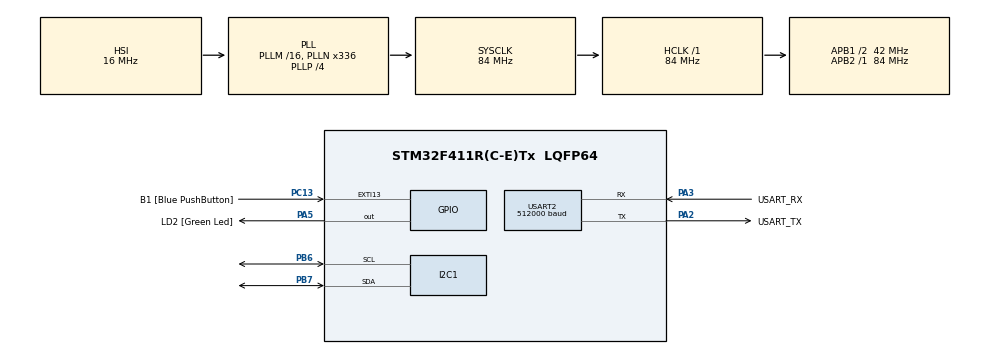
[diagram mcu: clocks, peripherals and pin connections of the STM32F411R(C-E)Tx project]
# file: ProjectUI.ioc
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Mcu.Family=STM32F4
PC15-OSC32_OUT.Mode=LSE-External-Oscillator
RCC.CortexFreq_Value=84000000
NVIC.I2C1_EV_IRQn=true\:0\:0\:false\:false\:true\:true\:true
PC13-ANTI_TAMP.GPIO_Label=B1 [Blue PushButton]
PA14.GPIO_Label=TCK
USART2.Parity=PARITY_EVEN
PH1\ -\ OSC_OUT.Mode=HSE-External-Clock-Source
RCC.APB1CLKDivider=RCC_HCLK_DIV2
PC14-OSC32_IN.Signal=RCC_OSC32_IN
NVIC.USART2_IRQn=true\:0\:0\:false\:false\:true\:true\:true
USART2.BaudRate=512000
RCC.SYSCLKSource=RCC_SYSCLKSOURCE_PLLCLK
ProjectManager.StackSize=0x400
PA13.Signal=SYS_JTMS-SWDIO
PA3.Mode=Asynchronous
PH0\ -\ OSC_IN.Mode=HSE-External-Clock-Source
PH0\ -\ OSC_IN.Signal=RCC_OSC_IN
ProjectManager.TargetToolchain=STM32CubeIDE
I2C1.I2C_Mode=I2C_Fast
RCC.HCLKFreq_Value=84000000
RCC.APB2TimFreq_Value=84000000
PB6.Signal=I2C1_SCL
PB6.Mode=I2C
PC15-OSC32_OUT.Signal=RCC_OSC32_OUT
RCC.AHBFreq_Value=84000000
PA5.Signal=GPIO_Output
RCC.HSE_VALUE=8000000
PH1\ -\ OSC_OUT.Signal=RCC_OSC_OUT
board=NUCLEO-F411RE
PC13-ANTI_TAMP.Signal=GPXTI13
RCC.VCOOutputFreq_Value=336000000
RCC.APB2Freq_Value=84000000
PC14-OSC32_IN.Mode=LSE-External-Oscillator
PA14.Mode=Serial_Wire
PB7.Signal=I2C1_SDA
PA13.Mode=Serial_Wire
NVIC.I2C1_ER_IRQn=true\:0\:0\:false\:false\:true\:true\:true
Mcu.Name=STM32F411R(C-E)Tx
PA2.Signal=USART2_TX
PA13.GPIO_Label=TMS
RCC.FLatency-AdvancedSettings=FLASH_LATENCY_2
RCC.48MHZClocksFreq_Value=84000000
PB3.Signal=SYS_JTDO-SWO
RCC.SYSCLKFreq_VALUE=84000000
Mcu.Package=LQFP64
PA5.GPIO_Label=LD2 [Green Led]
USART2.VirtualMode=VM_ASYNC
PC13-ANTI_TAMP.GPIO_ModeDefaultEXTI=GPIO_MODE_IT_FALLING
PA2.GPIO_Label=USART_TX
PB7.Mode=I2C
PA14.Signal=SYS_JTCK-SWCLK
ProjectManager.HeapSize=0x200
USART2.WordLength=WORDLENGTH_9B
RCC.HSI_VALUE=16000000
RCC.PLLP=RCC_PLLP_DIV4
NVIC.PriorityGroup=NVIC_PRIORITYGROUP_0
RCC.PLLN=336
RCC.APB1TimFreq_Value=84000000
PA2.Mode=Asynchronous
RCC.APB1Freq_Value=42000000
PA3.GPIO_Label=USART_RX
PA3.Signal=USART2_RX
PB3.GPIO_Label=SWO

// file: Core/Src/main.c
/* USER CODE BEGIN Header */
/**
  ******************************************************************************
  * @file           : main.c
  * @brief          : Main program body
  ******************************************************************************
  * @attention
  *
  * <h2><center>&copy; Copyright (c) 2021 STMicroelectronics.
  * All rights reserved.</center></h2>
  *
  * This software component is licensed by ST under BSD 3-Clause license,
  * the "License"; You may not use this file except in compliance with the
  * License. You may obtain a copy of the License at:
  *                        opensource.org/licenses/BSD-3-Clause
  *
  ******************************************************************************
  */
/* USER CODE END Header */
#include "main.h"

I2C_HandleTypeDef hi2c1;

UART_HandleTypeDef huart2;

/* USER CODE BEGIN PV */
int16_t inputchar = -1;
char RxDataBuffer[32] = { 0 };
uint8_t nstation[10] = {99,99,99,99,99,99,99,99,99,99};
uint8_t test = 0;
uint8_t error = 0;
uint8_t connect = 1;
float value = 0;
//uint8_t EEdata = 0;
/* USER CODE END PV */

void SystemClock_Config(void);
static void MX_GPIO_Init(void);
static void MX_USART2_UART_Init(void);
static void MX_I2C1_Init(void);
/* USER CODE BEGIN PFP */
int16_t UARTRecieveIT();
void Communication(int16_t dataIn);
void ACK1();
void ACK2();
void request(uint8_t mode);
void end_effector();
/* USER CODE END PFP */

int main(void)
{

  /* MCU Configuration--------------------------------------------------------*/

  /* Reset of all peripherals, Initializes the Flash interface and the Systick. */
  HAL_Init();

  /* Configure the system clock */
  SystemClock_Config();

  /* Initialize all configured peripherals */
  MX_GPIO_Init();
  MX_USART2_UART_Init();
  MX_I2C1_Init();

  /* Infinite loop */
  /* USER CODE BEGIN WHILE */
  while (1)
  {
	  HAL_UART_Receive_IT(&huart2,  (uint8_t*)RxDataBuffer, 32);
	   inputchar = UARTRecieveIT();
		//if input char == -1 ==> No New data
		if (inputchar != -1)
		{
			Communication(inputchar);
		}

    /* USER CODE END WHILE */

  }
}

void SystemClock_Config(void)
{
  RCC_OscInitTypeDef RCC_OscInitStruct = {0};
  RCC_ClkInitTypeDef RCC_ClkInitStruct = {0};

  /** Configure the main internal regulator output voltage
  */
  __HAL_RCC_PWR_CLK_ENABLE();
  __HAL_PWR_VOLTAGESCALING_CONFIG(PWR_REGULATOR_VOLTAGE_SCALE1);
  /** Initializes the RCC Oscillators according to the specified parameters
  * in the RCC_OscInitTypeDef structure.
  */
  RCC_OscInitStruct.OscillatorType = RCC_OSCILLATORTYPE_HSI;
  RCC_OscInitStruct.HSIState = RCC_HSI_ON;
  RCC_OscInitStruct.HSICalibrationValue = RCC_HSICALIBRATION_DEFAULT;
  RCC_OscInitStruct.PLL.PLLState = RCC_PLL_ON;
  RCC_OscInitStruct.PLL.PLLSource = RCC_PLLSOURCE_HSI;
  RCC_OscInitStruct.PLL.PLLM = 16;
  RCC_OscInitStruct.PLL.PLLN = 336;
  RCC_OscInitStruct.PLL.PLLP = RCC_PLLP_DIV4;
  RCC_OscInitStruct.PLL.PLLQ = 4;
  if (HAL_RCC_OscConfig(&RCC_OscInitStruct) != HAL_OK)
  {
    Error_Handler();
  }
  /** Initializes the CPU, AHB and APB buses clocks
  */
  RCC_ClkInitStruct.ClockType = RCC_CLOCKTYPE_HCLK|RCC_CLOCKTYPE_SYSCLK
                              |RCC_CLOCKTYPE_PCLK1|RCC_CLOCKTYPE_PCLK2;
  RCC_ClkInitStruct.SYSCLKSource = RCC_SYSCLKSOURCE_PLLCLK;
  RCC_ClkInitStruct.AHBCLKDivider = RCC_SYSCLK_DIV1;
  RCC_ClkInitStruct.APB1CLKDivider = RCC_HCLK_DIV2;
  RCC_ClkInitStruct.APB2CLKDivider = RCC_HCLK_DIV1;

  if (HAL_RCC_ClockConfig(&RCC_ClkInitStruct, FLASH_LATENCY_2) != HAL_OK)
  {
    Error_Handler();
  }
}

static void MX_I2C1_Init(void)
{

  hi2c1.Instance = I2C1;
  hi2c1.Init.ClockSpeed = 400000;
  hi2c1.Init.DutyCycle = I2C_DUTYCYCLE_2;
  hi2c1.Init.OwnAddress1 = 0;
  hi2c1.Init.AddressingMode = I2C_ADDRESSINGMODE_7BIT;
  hi2c1.Init.DualAddressMode = I2C_DUALADDRESS_DISABLE;
  hi2c1.Init.OwnAddress2 = 0;
  hi2c1.Init.GeneralCallMode = I2C_GENERALCALL_DISABLE;
  hi2c1.Init.NoStretchMode = I2C_NOSTRETCH_DISABLE;
  if (HAL_I2C_Init(&hi2c1) != HAL_OK)
  {
    Error_Handler();
  }

}

static void MX_USART2_UART_Init(void)
{

  huart2.Instance = USART2;
  huart2.Init.BaudRate = 512000;
  huart2.Init.WordLength = UART_WORDLENGTH_9B;
  huart2.Init.StopBits = UART_STOPBITS_1;
  huart2.Init.Parity = UART_PARITY_EVEN;
  huart2.Init.Mode = UART_MODE_TX_RX;
  huart2.Init.HwFlowCtl = UART_HWCONTROL_NONE;
  huart2.Init.OverSampling = UART_OVERSAMPLING_16;
  if (HAL_UART_Init(&huart2) != HAL_OK)
  {
    Error_Handler();
  }

}

static void MX_GPIO_Init(void)
{
  GPIO_InitTypeDef GPIO_InitStruct = {0};

  /* GPIO Ports Clock Enable */
  __HAL_RCC_GPIOC_CLK_ENABLE();
  __HAL_RCC_GPIOH_CLK_ENABLE();
  __HAL_RCC_GPIOA_CLK_ENABLE();
  __HAL_RCC_GPIOB_CLK_ENABLE();

  /*Configure GPIO pin Output Level */
  HAL_GPIO_WritePin(LD2_GPIO_Port, LD2_Pin, GPIO_PIN_RESET);

  /*Configure GPIO pin : B1_Pin */
  GPIO_InitStruct.Pin = B1_Pin;
  GPIO_InitStruct.Mode = GPIO_MODE_IT_FALLING;
  GPIO_InitStruct.Pull = GPIO_NOPULL;
  HAL_GPIO_Init(B1_GPIO_Port, &GPIO_InitStruct);

  /*Configure GPIO pin : LD2_Pin */
  GPIO_InitStruct.Pin = LD2_Pin;
  GPIO_InitStruct.Mode = GPIO_MODE_OUTPUT_PP;
  GPIO_InitStruct.Pull = GPIO_NOPULL;
  GPIO_InitStruct.Speed = GPIO_SPEED_FREQ_LOW;
  HAL_GPIO_Init(LD2_GPIO_Port, &GPIO_InitStruct);

}

/* USER CODE BEGIN 4 */
int16_t UARTRecieveIT()
{
	static uint32_t dataPos =0;
	int16_t data=-1;
	if(huart2.RxXferSize - huart2.RxXferCount!=dataPos)
	{
		data=RxDataBuffer[dataPos];
		dataPos= (dataPos+1)%huart2.RxXferSize;
	}
	return data;
}

void Communication(int16_t dataIn)
{
	static uint8_t mode = 0;
	static uint8_t n = 0;
	static uint16_t parameter = 0;
	static uint8_t station[10] = {99,99,99,99,99,99,99,99,99,99};
	static uint8_t checksum = 0;
	static uint8_t check = 0;
	static uint8_t len = 0;
	test = 0;
	error = 0;
	value = 0;

	static enum _StateMachine
	{
		State_StartMode,
		State_CollectData_2,
		State_CollectData_3,
		State_Len,
		State_CheckSum

	} STATE = State_StartMode;

	//State Machine
	  switch (STATE)
	  {
	  	  case State_StartMode :
	  		  switch (dataIn)
	  		  {
	  		  	  case 0b10010010 :
	  		  		  mode = 2;		//connect MCU #1
	  		  		  STATE = State_CheckSum;
	  		  		  break;

	  		  	  case 0b10010011 :
	  		  		  mode = 3;		//disconnect MCU #1
	  		  		  STATE = State_CheckSum;
	  		  		  break;

	  		  	  case 0b10011000 :
	  		  		  mode = 8;		//go to station/goal position #1
	  		  		  STATE = State_CheckSum;
	  		  		  break;

	  		  	  case 0b10011001 :
	  		  		  mode = 9;		//request current station #1
	  		  		  STATE = State_CheckSum;
	  		  		  break;

	  		  	  case 0b10011010 :
	  		  		  mode = 10;	//request angular position #1
	  		  		  STATE = State_CheckSum;
	  		  		  break;

	  		  	  case 0b10011011 :
	  		  		  mode = 11;	//request max angular velocity #1
	  		  		  STATE = State_CheckSum;
	  		  		  break;

	  		  	  case 0b10011100 :
	  		  		  mode = 12;	//enable gripper #1
	  		  		  STATE = State_CheckSum;
	  		  		  break;

	  		  	  case 0b10011101 :
	  		  		  mode = 13;	//disable gripper #1
	  		  		  STATE = State_CheckSum;
	  		  		  break;

	  		  	  case 0b10011110 :
	  		  		  mode = 14;	//set home #1
	  		  		  STATE = State_CheckSum;
	  		  		  break;

	  		  	  case 0b10010001 :
	  		  		  mode = 1;		//test command #2
	  		  		  n = 1;
	  		  		  STATE = State_CollectData_2;
	  		  		  break;

	  		  	  case 0b10010100 :
	  		  		  mode = 4;		//set angular velocity #2
	  		  		  n = 1;
	  		  		  STATE = State_CollectData_2;
	  		  		  break;

	  		  	  case 0b10010101 :
	  		  		  mode = 5;		//set angular position #2
	  		  		  n = 1;
	  		  		  STATE = State_CollectData_2;
	  		  		  break;

	  		  	  case 0b10010110 :
	  		  		  mode = 6;		//set goal 1 station #2
	  		  		  n = 1;
	  		  		  STATE = State_CollectData_2;
	  		  		  break;

	  		  	  case 0b10010111 :
	  		  		  mode = 7;		//set goal n station #3
	  		  		  STATE = State_Len;
	  		  		  break;
	  		  }
	  		  break;

	  	  case State_Len :
	  		len = dataIn;
	  		n = dataIn;
	  		STATE = State_CollectData_3;
	  		break;

	  	  case State_CollectData_2 :
	  		check += dataIn;
	  		parameter |= (dataIn & 0xFF) << (8*n);
	  		if (n == 0)
	  		{
	  			STATE = State_CheckSum;
	  			break;
	  		}
	  		n -= 1;
	  		break;

	  	  case State_CollectData_3 :
	  		n -= 1;
	  		check += dataIn;
	  		station[n] = dataIn;
	  		if (n == 0)
	  		{
	  			STATE = State_CheckSum;
	  			break;
	  		}
	  		break;

	  	  case State_CheckSum :
	  		  switch (mode)
	  		  {
	  		  	  case 1 :	//test command #2
	  		  		  checksum = ~(0b10010001 + check);
	  		  		  ACK1();
	  		  		  STATE = State_StartMode;
	  		  		  if (dataIn != checksum)
	  		  		  {
	  		  			  error = 1;
	  		  		  }
	  		  		  else if (connect == 1)
	  		  		  {
	  		  			  //blabla
	  		  			  test = 1;
	  		  		  }
	  		  		  break;

	  		  	  case 2 : //connect MCU #1
	  		  		  checksum = ~(0b10010010);
	  		  		  ACK1();
	  		  		  STATE = State_StartMode;
	  		  		  if (dataIn != checksum)
	  		  		  {
	  		  			  error = 1;
	  		  		  }
	  		  		  else
	  		  		  {
	  		  			  connect = 1;
	  		  			  test = 2;
	  		  		  }
	  		  		  break;

	  		  	  case 3 : //disconnect MCU #1
	  		  		  checksum = ~(0b10010011);
	  		  		  ACK1();
	  		  		  STATE = State_StartMode;
	  		  		  if (dataIn != checksum)
	  		  		  {
	  		  			  error = 1;
	  		  		  }
	  		  		  else
	  		  		  {
	  		  			  connect = 0;
	  		  			  test = 3;
	  		  		  }

	  		  		  break;

	  		  	  case 4 : //set angular velocity #2
	  		  		  checksum = ~(0b10010100 + check);
	  		  		  ACK1();
	  		  		  STATE = State_StartMode;
	  		  		  if (dataIn != checksum)
	  		  		  {
	  		  			  error = dataIn;
	  		  		  }
	  		  		  else if (connect == 1)
	  		  		  {
		  		  		  value = parameter;
	  		  			  test = 4;
	  		  		  }
	  		  		  break;

	  		  	  case 5 : //set angular position #2
	  		  		  checksum = ~(0b10010101 + check);
	  		  		  ACK1();
	  		  		  STATE = State_StartMode;
	  		  		  if (dataIn != checksum)
	  		  		  {
	  		  			  error = 1;
	  		  		  }
	  		  		  else if (connect == 1)
	  		  		  {
		  		  		  value = parameter/10000.0;
	  		  			  test = 5;
	  		  		  }
	  		  		  break;

	  		  	  case 6 : //set goal 1 station #2
	  		  		  checksum = ~(0b10010110 + check);
	  		  		  ACK1();
	  		  		  STATE = State_StartMode;
	  		  		  if (dataIn != checksum)
	  		  		  {
	  		  			  error = 1;
	  		  		  }
	  		  		  else if (connect == 1)
	  		  		  {
		  		  		  value = parameter;
	  		  			  test = 6;
	  		  		  }
	  		  		  break;

	  		  	  case 7 : //set goal n station #3
	  		  		  checksum = ~(0b10010111 + len + check);
	  		  		  ACK1();
	  		  		  STATE = State_StartMode;
	  		  		  if (dataIn != checksum)
	  		  		  {
	  		  			  error = 1;
	  		  		  }
	  		  		  else if (connect == 1)
	  		  		  {
	  		  			  //blabla
	  		  			 for (uint8_t i = len - 1 ; i >= 0 ; i--)
						  {
							  nstation[len - i - 1] = station[i];
						  }
	  		  			  test = 7;
	  		  		  }
	  		  		  break;

	  		  	  case 8 : //go to station/goal position #1
	  		  		  checksum = ~(0b10011000);
	  		  		  ACK1();
	  		  		  STATE = State_StartMode;
	  		  		  if (dataIn != checksum)
	  		  		  {
	  		  			  error = 1;
	  		  		  }
	  		  		  else if (connect == 1)
	  		  		  {
	  		  			  //blabla
	  		  			  test = 8;
	  		  		  }
	  		  		  break;

	  		  	  case 9 : //request current station #1
	  		  		  checksum = ~(0b10011001);
	  		  		  ACK1();
	  		  		  STATE = State_StartMode;
	  		  		  if (dataIn != checksum)
	  		  		  {
	  		  			  error = 1;
	  		  		  }
	  		  		  else if (connect == 1)
	  		  		  {
	  		  			  request(9);
	  		  			  test = 9;
	  		  		  }
	  		  		  break;

	  		  	  case 10 : //request angular position #1
	  		  		  checksum = ~(0b10011010);
	  		  		  ACK1();
	  		  		  STATE = State_StartMode;
	  		  		  if (dataIn != checksum)
	  		  		  {
	  		  			  error = 1;
	  		  		  }
	  		  		  else if (connect == 1)
	  		  		  {
	  		  			  request(10);
	  		  			  test = 10;
	  		  		  }
	  		  		  break;

	  		  	  case 11 : //request max angular velocity #1
	  		  		  checksum = ~(0b10011011);
	  		  		  ACK1();
	  		  		  STATE = State_StartMode;
	  		  		  if (dataIn != checksum)
	  		  		  {
	  		  			  error = 1;
	  		  		  }
	  		  		  else if (connect == 1)
	  		  		  {
	  		  			  request(11);
	  		  			  test = 11;
	  		  		  }
	  		  		  break;

	  		  	  case 12 : //enable gripper #1
	  		  		  checksum = ~(0b10011100);
	  		  		  ACK1();
	  		  		  STATE = State_StartMode;
	  		  		  if (dataIn != checksum)
	  		  		  {
	  		  			  error = 1;
	  		  		  }
	  		  		  else if (connect == 1)
	  		  		  {
	  		  			  //blabla
	  		  			  test = 12;
	  		  		  }
	  		  		  break;

	  		  	  case 13 : //disable gripper #1
	  		  		  checksum = ~(0b10011101);
	  		  		  ACK1();
	  		  		  STATE = State_StartMode;
	  		  		  if (dataIn != checksum)
	  		  		  {
	  		  			  error = 1;
	  		  		  }
	  		  		  else if (connect == 1)
	  		  		  {
	  		  			  //blabla
	  		  			  test = 13;
	  		  		  }
	  		  		  break;

	  		  	  case 14 : //set home #1
	  		  		  checksum = ~(0b10011110);
	  		  		  ACK1();
	  		  		  STATE = State_StartMode;
	  		  		  if (dataIn != checksum)
	  		  		  {
	  		  			  error = 1;
	  		  		  }
	  		  		  else if (connect == 1)
	  		  		  {
	  		  			  //sethome = 1;
	  		  			  test = 14;
	  		  		  }
	  		  		  break;
	  		  }
	  }
}

void ACK1()
{
	static uint8_t ack1[2] = {0x58,0b01110101};
	HAL_UART_Transmit_IT(&huart2, ack1, 2);
}

void ACK2()
{
	static uint8_t ack2[2] = {70,110};
	HAL_UART_Transmit_IT(&huart2, ack2, 2);
}

void request(uint8_t mode)
{
	if (mode == 9)		//request current station >> #2
	{
		uint8_t requested[] = {0b10011001, 0b00, 0b00, 0b00};
		//requested[2] = velocity;
		requested[3] = ~(0b10011001 + requested[2]);
		HAL_UART_Transmit_IT(&huart2, requested, 4);
	}

	if (mode == 10)		//request angular position >> #2
	{
		uint8_t requested[] = {0b10011010, 0b00, 0b00, 0b00};
		//requested[1] = velocity >> 8;
		//requested[2] = velocity;
		requested[3] = ~(0b10011010 + requested[1] + requested[2]);
		HAL_UART_Transmit_IT(&huart2, requested, 4);
	}

	if (mode == 11)		//request max angular velocity >> #2
	{
		uint8_t requested[] = {0b10011011, 0b00, 0b00, 0b00};
		//requested[2] = velocity;
		requested[3] = ~(0b10011011 + requested[2]);
		HAL_UART_Transmit_IT(&huart2, requested, 4);
	}
}
//
//void end_effector()
//{
//	HAL_I2C_Master_Transmit_IT(&hi2c1, 0x23 << 1, pData, 1);
//}
/* USER CODE END 4 */

void Error_Handler(void)
{
  __disable_irq();
  while (1)
  {
  }
}

/************************ (C) COPYRIGHT STMicroelectronics *****END OF FILE****/
